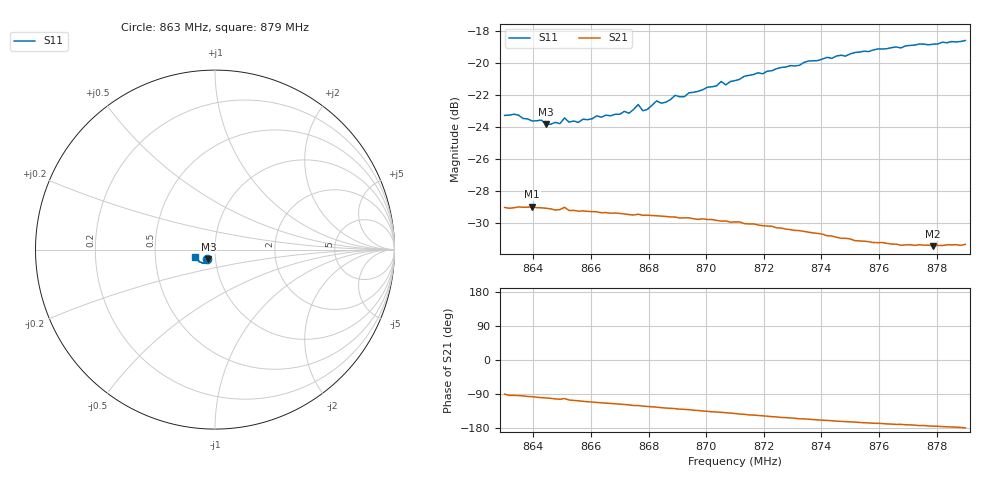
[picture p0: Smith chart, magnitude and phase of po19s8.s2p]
# HZ S RI R 50
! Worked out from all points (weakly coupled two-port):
!   101 points, 863 MHz to 879 MHz, reference 50 ohm
!   highest |S21| = -29.01 dB at 863.96 MHz (marker M1); lowest = -31.5 dB at 877.88 MHz (marker M2)
!   lowest |S11| = -23.9 dB at 864.44 MHz (marker M3), VSWR 1.14, Z = 46.3 - j4.92 ohm
!   |S11| at or under -10 dB: start of sweep to end of sweep
!   S12 and S22 are empty: the file has one direction only
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8.63e8  -0.0432 -0.0532  -6.8e-05 -0.0353  0 0  0 0
8.6396e8  -0.0387 -0.0532  -0.00423 -0.0352  0 0  0 0
8.6428e8  -0.0378 -0.0544  -0.00578 -0.0347  0 0  0 0
8.6444e8  -0.0362 -0.053  -0.00622 -0.0345  0 0  0 0
8.6492e8  -0.0356 -0.0538  -0.00818 -0.0338  0 0  0 0
8.6508e8  -0.0354 -0.0572  -0.00715 -0.0346  0 0  0 0
8.6524e8  -0.0349 -0.0551  -0.0093 -0.0332  0 0  0 0
8.6572e8  -0.0336 -0.0576  -0.0111 -0.0326  0 0  0 0
8.6732e8  -0.0323 -0.0617  -0.016 -0.0294  0 0  0 0
8.6764e8  -0.0367 -0.0644  -0.0169 -0.029  0 0  0 0
8.678e8  -0.0339 -0.0622  -0.0175 -0.0284  0 0  0 0
8.6828e8  -0.0371 -0.0664  -0.0188 -0.0274  0 0  0 0
8.6844e8  -0.0357 -0.0658  -0.0194 -0.0269  0 0  0 0
8.6892e8  -0.0391 -0.0689  -0.0205 -0.0258  0 0  0 0
8.6924e8  -0.0379 -0.0687  -0.0211 -0.025  0 0  0 0
8.7052e8  -0.0452 -0.0749  -0.0238 -0.0214  0 0  0 0
8.7068e8  -0.0449 -0.0726  -0.0242 -0.021  0 0  0 0
8.71e8  -0.0479 -0.0739  -0.0248 -0.0199  0 0  0 0
8.7372e8  -0.0687 -0.0748  -0.0271 -0.0114  0 0  0 0
8.7644e8  -0.0932 -0.0615  -0.0266 -0.00509  0 0  0 0
8.7788e8  -0.103 -0.05  -0.0266 -0.0025  0 0  0 0
8.79e8  -0.1109 -0.0393  -0.027 -0.000395  0 0  0 0
